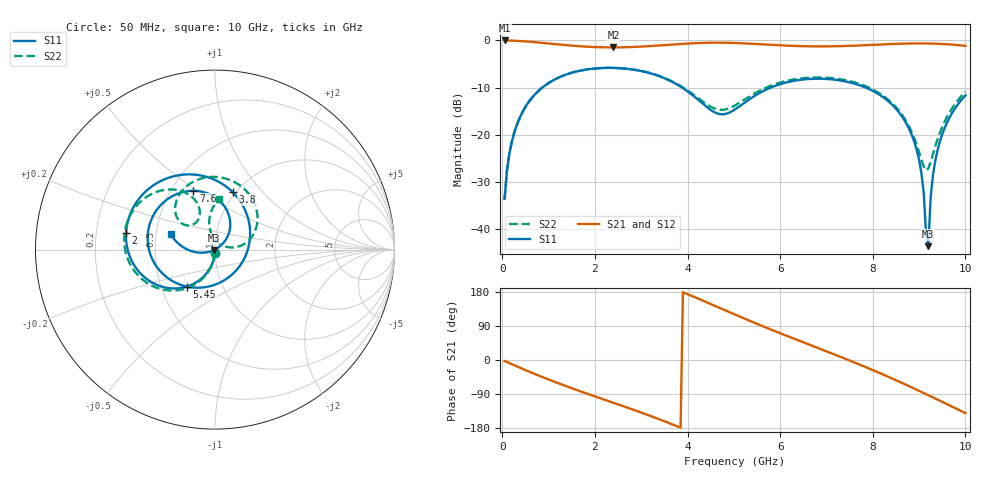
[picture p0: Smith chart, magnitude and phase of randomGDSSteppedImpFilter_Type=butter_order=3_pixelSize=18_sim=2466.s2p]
! freq	dB(S11)	phase(S11)	dB(S12)	phase(S12)
!  dB(S21)	phase(S21)	dB(S22)	phase(S22)
!S-par simulation data
#  GHz  S  DB  R 50
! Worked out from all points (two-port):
!   200 points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, 50 MHz to 10 GHz, reference 50 ohm
!   highest |S21| = -0.01 dB at 50 MHz (marker M1); lowest = -1.5 dB at 2.4 GHz (marker M2)
!   |S21| within 3 dB of the highest: start of sweep to end of sweep
!   lowest |S11| = -43.6 dB at 9.2 GHz (marker M3), VSWR 1.01, Z = 49.4 - j0.18 ohm
!   |S11| at or under -10 dB: start of sweep to 862 MHz; 3.883 GHz to 5.793 GHz (1.91 GHz wide, 39.5 % of centre); 7.851 GHz to end of sweep
!   |S22| runs from -33.6 to -5.8 dB; largest |S21 - S12| = 0
!   S11 on the Smith chart (normalised r, x): 50 MHz: 1.00, -0.04; 2 GHz: 0.33, +0.08; 3.8 GHz: 0.97, +0.70; 5.45 GHz: 0.68, -0.30; 7.6 GHz: 0.64, +0.48; 10 GHz: 0.60, +0.11
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0.05  -33.57 -92.8  -0.01 -2.7  -0.01 -2.7  -33.57 -92.7
0.2  -21.67 -101.5  -0.05 -10.8  -0.05 -10.8  -21.67 -100.9
0.5  -14.08 -117.9  -0.21 -26.6  -0.21 -26.6  -14.07 -116.3
1.1  -8.44 -148.7  -0.74 -56.3  -0.74 -56.3  -8.43 -145.0
1.75  -6.28 -179.3  -1.28 -85.4  -1.28 -85.4  -6.28 -172.5
2  -5.95 169.3  -1.40 -96.0  -1.40 -96.0  -5.94 177.6
2.4  -5.82 151.0  -1.48 -112.9  -1.48 -112.9  -5.81 162.4
3.4  -7.61 99.5  -1.06 -156.9  -1.06 -156.9  -7.55 126.9
3.8  -9.49 73.0  -0.79 -176.1  -0.79 -176.1  -9.36 115.6
4.4  -13.97 14.8  -0.50 153.0  -0.50 153.0  -13.42 113.4
5.05  -14.45 -84.8  -0.55 118.6  -0.55 118.6  -13.62 139.6
5.45  -11.73 -127.2  -0.74 97.9  -0.74 97.9  -11.21 140.0
6.7  -8.13 154.9  -1.26 37.2  -1.26 37.2  -7.86 98.0
7.6  -9.14 110.1  -1.12 -6.3  -1.12 -6.3  -8.86 57.7
8.35  -13.00 72.0  -0.79 -45.1  -0.79 -45.1  -12.69 22.1
8.95  -23.23 40.1  -0.63 -78.5  -0.63 -78.5  -22.17 9.7
9.05  -28.08 34.8  -0.63 -84.2  -0.63 -84.2  -25.30 21.8
9.15  -40.79 31.8  -0.64 -90.0  -0.64 -90.0  -27.52 51.7
9.2  -43.57 -164.1  -0.64 -92.9  -0.64 -92.9  -27.13 70.3
9.25  -33.20 -157.8  -0.66 -95.8  -0.66 -95.8  -25.73 84.7
9.4  -23.18 -165.5  -0.70 -104.6  -0.70 -104.6  -20.88 102.5
10  -11.64 160.9  -1.15 -140.0  -1.15 -140.0  -10.89 85.2
